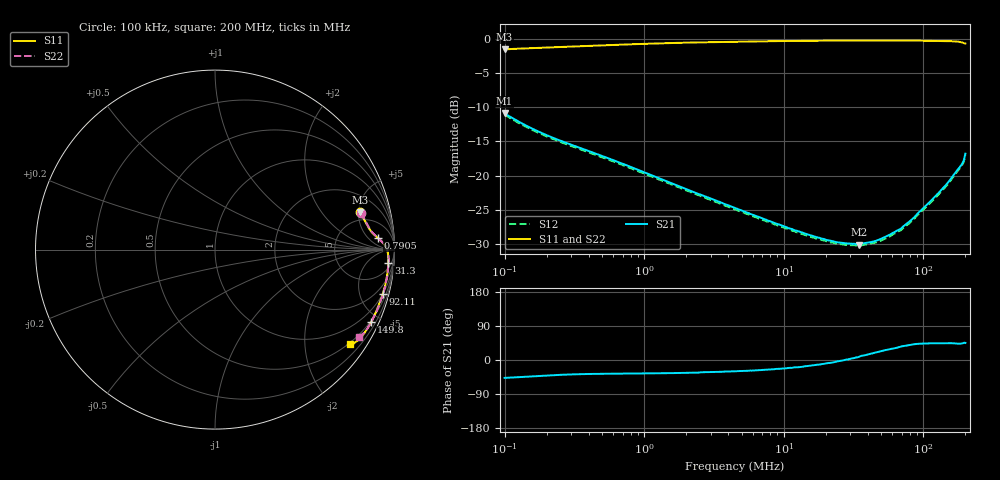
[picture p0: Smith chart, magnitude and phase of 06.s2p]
#  HZ  S  RI  R  50.00
! Rohde & Schwarz Vector Network Analyzer
! Rohde-Schwarz,ZNLE6-2Port,1323001256200024,1.71.1.10-23.02.1.238
! Created: UTC 4/8/2025, 5:59:51 AM
! freq[Hz]  re:S11  im:S11  re:S21  im:S21  re:S12  im:S12  re:S22  im:S22
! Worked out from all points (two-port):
!   1001 points, 100 kHz to 200 MHz, reference 50 ohm
!   highest |S21| = -10.92 dB at 100 kHz (marker M1); lowest = -30.0 dB at 34.82 MHz (marker M2)
!   |S21| within 3 dB of the highest: start of sweep to 191.8 kHz
!   lowest |S11| = -1.6 dB at 100 kHz (marker M3), VSWR 11.09, Z = 190 + j260 ohm
!   |S11| at or under -10 dB: nowhere
!   |S22| runs from -1.5 to -0.3 dB; largest |S21 - S12| = 0.0062
!   S11 on the Smith chart (normalised r, x): 100 kHz: 3.80, +5.20; 790.5 kHz: 13, +10; 31.3 MHz: 9, -22; 92.11 MHz: 1.00, -7.65; 149.8 MHz: 0.44, -4.48; 200 MHz: 0.45, -3.12
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100000  0.8084 0.2075  0.1934 -0.2087  0.1882 -0.2053  0.8136 0.204
137607.9  0.8326 0.1645  0.1688 -0.1656  0.1645 -0.1628  0.8368 0.1616
178187.9  0.8465 0.1381  0.1548 -0.1392  0.151 -0.1368  0.8503 0.1357
355854.1  0.8752 0.0946  0.1258 -0.0958  0.1229 -0.094  0.8782 0.0928
790460.5  0.9062 0.066  0.0945 -0.0683  0.0923 -0.067  0.9085 0.0647
1266322  0.9217 0.0518  0.0787 -0.0554  0.0769 -0.0543  0.9235 0.051
4472136  0.9498 0.0182  0.0506 -0.0289  0.0489 -0.0289  0.9518 0.0208
8796434  0.9595 -0.00286  0.041 -0.0179  0.0397 -0.019  0.9604 -0.000401
1.591428e7  0.9642 -0.0276  0.0354 -0.00922  0.0344 -0.00945  0.9654 -0.0242
2.399068e7  0.9658 -0.0531  0.0326 -0.00229  0.0317 -0.00302  0.9671 -0.0475
3.130247e7  0.9657 -0.0745  0.0319 0.00254  0.031 0.00236  0.967 -0.0681
3.481714e7  0.9648 -0.0852  0.0311 0.00497  0.0304 0.00394  0.9665 -0.0772
4.577519e7  0.9623 -0.1164  0.0316 0.0115  0.0308 0.0108  0.9647 -0.1065
5.663162e7  0.9584 -0.1473  0.0325 0.0174  0.032 0.0162  0.9614 -0.1347
6.900583e7  0.9513 -0.1817  0.0336 0.0237  0.0332 0.0223  0.9558 -0.1665
8.21882e7  0.9431 -0.2179  0.0364 0.031  0.0361 0.0293  0.9487 -0.1999
9.211385e7  0.9361 -0.2447  0.0396 0.0364  0.0394 0.0346  0.9428 -0.2249
1.192779e8  0.909 -0.3171  0.0495 0.0485  0.0491 0.0464  0.9214 -0.2932
1.498273e8  0.8702 -0.4048  0.0638 0.0622  0.0629 0.0599  0.8868 -0.37
1.692027e8  0.8359 -0.4601  0.0762 0.0726  0.0755 0.0697  0.8617 -0.4198
1.853616e8  0.796 -0.5055  0.0864 0.0809  0.0858 0.078  0.8323 -0.4613
2e8  0.7549 -0.5275  0.1025 0.1025  0.1014 0.0991  0.8029 -0.4881
